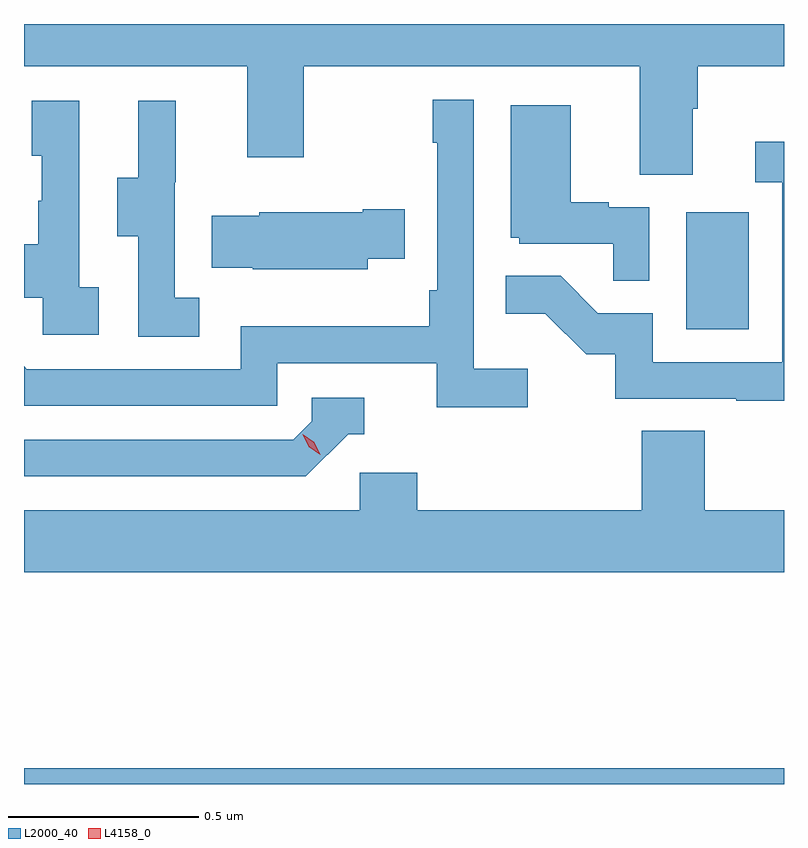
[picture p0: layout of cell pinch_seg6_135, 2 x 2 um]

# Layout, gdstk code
import gdstk
lib = gdstk.Library(unit=1e-6, precision=1e-09)
def R(c, l, rs):  # rectangles x0, y0, x1, y1
    for r in rs: c.add(gdstk.rectangle(r[:2], r[2:], *l))
def P(c, l, *ps):  # polygons
    for p in ps: c.add(gdstk.Polygon(p, *l))
L2000_40 = (2000, 40)
L4158_0 = (4158, 0)

pinch_seg6_135 = lib.new_cell('pinch_seg6_135')
R(pinch_seg6_135, L2000_40, [(951.497,934.791,953.497,934.832), (953.24,935.988,953.404,936.295)])
P(pinch_seg6_135, L2000_40, [(953.257,936.568),(953.27,936.568),(953.27,936.68),(953.497,936.68),(953.497,936.791),(951.497,936.791),(951.497,936.68),(952.085,936.68),(952.085,936.441),(952.233,936.441),(952.233,936.68),(953.117,936.68),(953.117,936.394),(953.257,936.394)],
  [(952.822,935.884),(952.68,935.884),(952.68,936.592),(952.572,936.592),(952.572,936.479),(952.584,936.479),(952.584,936.091),(952.564,936.091),(952.564,935.995),(952.068,935.995),(952.068,935.883),(951.504,935.883),(951.497,935.89),(951.497,935.787),(952.164,935.787),(952.164,935.898),(952.583,935.898),(952.583,935.782),(952.822,935.782)],
  [(951.694,936.098),(951.642,936.098),(951.642,936.589),(951.518,936.589),(951.518,936.444),(951.544,936.444),(951.544,936.326),(951.534,936.326),(951.534,936.211),(951.497,936.211),(951.497,936.071),(951.546,936.071),(951.546,935.973),(951.694,935.973)],
  [(951.958,936.071),(951.894,936.071),(951.894,936.375),(951.896,936.375),(951.896,936.589),(951.797,936.589),(951.797,936.387),(951.743,936.387),(951.743,936.232),(951.798,936.232),(951.798,935.968),(951.958,935.968)],
  [(953.142,936.309),(953.036,936.309),(953.036,936.322),(952.936,936.322),(952.936,936.577),(952.778,936.577),(952.778,936.228),(952.8,936.228),(952.8,936.213),(953.047,936.213),(953.047,936.115),(953.142,936.115)],
  [(953.497,936.481),(953.421,936.481),(953.421,936.375),(953.493,936.375),(953.493,935.901),(953.151,935.901),(953.151,936.03),(953.007,936.03),(952.909,936.128),(952.765,936.128),(952.765,936.029),(952.869,936.029),(952.976,935.922),(953.053,935.922),(953.053,935.805),(953.371,935.805),(953.371,935.8),(953.497,935.8)],
  [(952.401,936.173),(952.499,936.173),(952.499,936.303),(952.388,936.303),(952.388,936.295),(952.116,936.295),(952.116,936.286),(951.991,936.286),(951.991,936.149),(952.099,936.149),(952.099,936.146),(952.401,936.146)],
  [(952.35,935.712),(952.393,935.712),(952.393,935.808),(952.254,935.808),(952.254,935.745),(952.206,935.697),(951.497,935.697),(951.497,935.601),(952.239,935.601)],
  [(953.497,935.512),(953.288,935.512),(953.288,935.72),(953.123,935.72),(953.123,935.512),(952.532,935.512),(952.532,935.61),(952.38,935.61),(952.38,935.512),(951.497,935.512),(951.497,935.348),(953.497,935.348)])
P(pinch_seg6_135, L4158_0, [(952.276,935.658),(952.246,935.678),(952.231,935.712),(952.231,935.712),(952.231,935.712),(952.261,935.691),(952.276,935.658),(952.276,935.658)])

lib.write_gds('pinch_seg6_135.gds')
